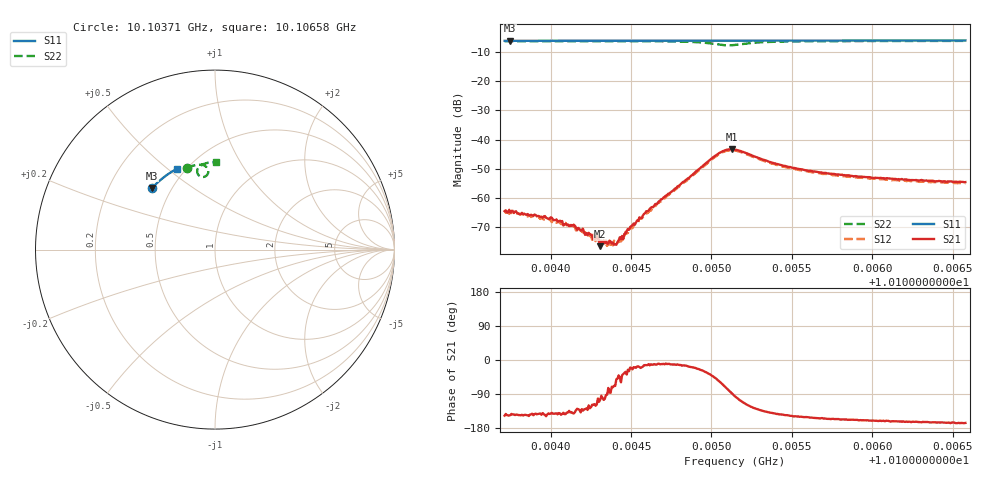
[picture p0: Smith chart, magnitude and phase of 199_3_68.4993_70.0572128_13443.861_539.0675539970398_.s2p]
#  HZ  S  RI  R  50.00
! Rohde & Schwarz Vector Network Analyzer
! Rohde-Schwarz,ZNB20-2Port,1311601062101988,3.16
! Created: UTC 3/20/2024, 5:12:41 PM
! freq[Hz]  re:S11  im:S11  re:S21  im:S21  re:S12  im:S12  re:S22  im:S22
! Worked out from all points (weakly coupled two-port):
!   401 points, 10.10371 GHz to 10.10658 GHz, reference 50 ohm
!   highest |S21| = -43.36 dB at 10.10513 GHz (marker M1); lowest = -76.5 dB at 10.10431 GHz (marker M2)
!   lowest |S11| = -6.2 dB at 10.10375 GHz (marker M3), VSWR 2.92, Z = 19.6 + j17.7 ohm
!   |S11| at or under -10 dB: nowhere
!   |S22| runs from -7.8 to -6.2 dB; largest |S21 - S12| = 0.00071
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1.0103714e10  -0.3508 0.3423  -0.000495 -0.000324  -0.00043 -0.000351  -0.1564 0.4562
1.010375e10  -0.3491 0.3438  -0.000462 -0.000318  -0.000431 -0.000351  -0.1541 0.457
1.0104015e10  -0.3382 0.3556  -0.000335 -0.000264  -0.000329 -0.000259  -0.1363 0.4632
1.0104094e10  -0.3349 0.3592  -0.000285 -0.000217  -0.000259 -0.000267  -0.1309 0.4648
1.0104137e10  -0.333 0.361  -0.000255 -0.000214  -0.000238 -0.000245  -0.1279 0.4656
1.0104194e10  -0.3305 0.3635  -0.000181 -0.000218  -0.000153 -0.000216  -0.1238 0.4668
1.010428e10  -0.3268 0.3671  -0.000104 -0.000175  -5.08e-05 -0.000174  -0.1174 0.4685
1.0104309e10  -0.3256 0.3682  -3.75e-05 -0.000144  -5.11e-05 -0.000143  -0.1151 0.4691
1.0104359e10  -0.3232 0.3704  4.61e-05 -0.000159  3.6e-05 -0.000156  -0.1112 0.4698
1.0104409e10  -0.3212 0.3724  9.97e-05 -0.000122  0.000112 -0.000123  -0.1073 0.4707
1.0104437e10  -0.3199 0.3738  0.000101 -0.000167  0.000144 -0.000106  -0.1049 0.4711
1.0104495e10  -0.3174 0.3761  0.000299 -0.000107  0.000274 -0.000111  -0.0999 0.472
1.0104538e10  -0.3155 0.3778  0.000392 -0.000121  0.000385 -8.47e-05  -0.0962 0.4724
1.0104674e10  -0.3091 0.3834  0.000863 -0.000148  0.000823 -9.6e-05  -0.0824 0.4732
1.0105018e10  -0.293 0.3967  0.00358 -0.00367  0.00376 -0.00316  -0.0373 0.4328
1.0105075e10  -0.2904 0.3986  0.00253 -0.00586  0.00303 -0.00538  -0.0497 0.4105
1.0105125e10  -0.288 0.4003  0.000326 -0.00679  0.000934 -0.00649  -0.0739 0.4049
1.0105147e10  -0.2871 0.4012  -0.000685 -0.00666  -5.7e-05 -0.00647  -0.0837 0.4085
1.0105419e10  -0.2742 0.4112  -0.00299 -0.00224  -0.00265 -0.00241  -0.0836 0.4664
1.0105627e10  -0.264 0.4186  -0.00254 -0.00135  -0.0023 -0.00148  -0.0634 0.4772
1.0106107e10  -0.2395 0.4345  -0.00203 -0.000679  -0.00186 -0.000827  -0.0256 0.4857
1.0106579e10  -0.2145 0.4485  -0.00181 -0.000447  -0.00169 -0.000559  0.00698 0.4884
